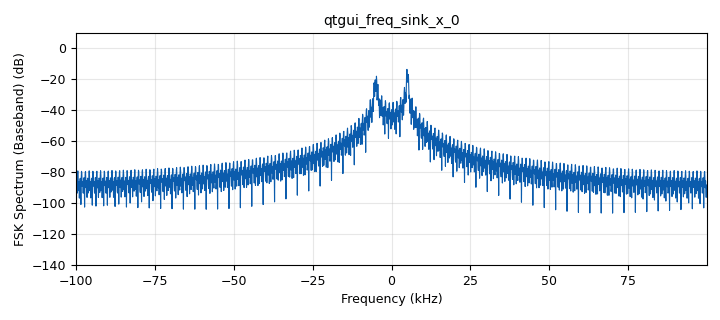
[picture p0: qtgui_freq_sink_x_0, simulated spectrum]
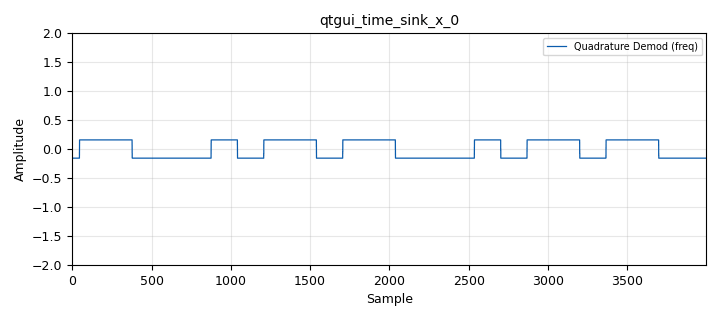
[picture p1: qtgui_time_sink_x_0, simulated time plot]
options:
  parameters:
    author: DJ2RF
    category: '[Digital Demos]'
    comment: 2-FSK demo (no hardware) – robust minimal version
    description: Vector symbols -> FSK mod -> spectrum + quadrature demod time view
    generate_options: qt_gui
    id: fsk_demo_min
    output_language: python
    title: 2-FSK Demo (Baseband) – Minimal Robust
  states: {}

blocks:
- name: samp_rate
  id: variable
  parameters:
    value: '200000'
  states: {}
- name: baud
  id: variable
  parameters:
    value: '1200'
  states: {}
- name: sps
  id: variable
  parameters:
    value: int(samp_rate/baud)
  states: {}
- name: f_dev
  id: variable
  parameters:
    value: '5000'
  states: {}
- name: sens
  id: variable
  parameters:
    value: 2*math.pi*f_dev/samp_rate
  states: {}
- name: blocks_vector_source_x_0
  id: blocks_vector_source_x
  parameters:
    type: float
    vector: '[-1.0, 1.0, 1.0, -1.0, -1.0, -1.0, 1.0, -1.0, 1.0, 1.0]'
    repeat: 'True'
  states: {}
- name: blocks_repeat_0
  id: blocks_repeat
  parameters:
    type: float
    interp: sps
  states: {}
- name: analog_frequency_modulator_fc_0
  id: analog_frequency_modulator_fc
  parameters:
    sensitivity: sens
  states: {}
- name: blocks_throttle_0
  id: blocks_throttle
  parameters:
    type: complex
    samples_per_second: samp_rate
  states: {}
- name: analog_quadrature_demod_cf_0
  id: analog_quadrature_demod_cf
  parameters:
    gain: '1.0'
  states: {}
- name: qtgui_freq_sink_x_0
  id: qtgui_freq_sink_x
  parameters:
    type: complex
    fftsize: '2048'
    fc: '0'
    bw: samp_rate
    label: FSK Spectrum (Baseband)
  states: {}
- name: qtgui_time_sink_x_0
  id: qtgui_time_sink_x
  parameters:
    type: float
    samp_rate: samp_rate
    size: '4000'
    ymin: '-2'
    ymax: '2'
    grid: 'True'
    label1: Quadrature Demod (freq)
  states: {}

connections:
- [blocks_vector_source_x_0, '0', blocks_repeat_0, '0']
- [blocks_repeat_0, '0', analog_frequency_modulator_fc_0, '0']
- [analog_frequency_modulator_fc_0, '0', blocks_throttle_0, '0']
- [blocks_throttle_0, '0', qtgui_freq_sink_x_0, '0']
- [blocks_throttle_0, '0', analog_quadrature_demod_cf_0, '0']
- [analog_quadrature_demod_cf_0, '0', qtgui_time_sink_x_0, '0']

metadata:
  file_format: 1
  grc_version: 3.10.5.1
